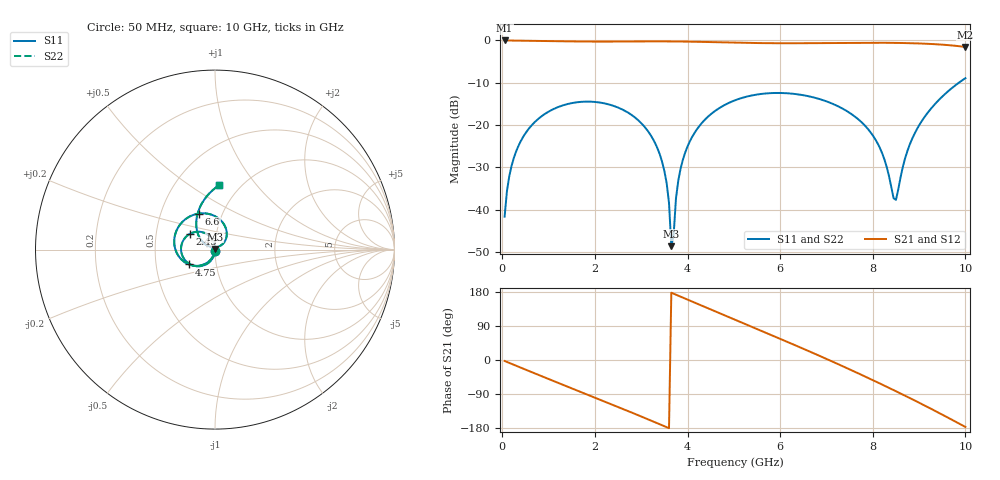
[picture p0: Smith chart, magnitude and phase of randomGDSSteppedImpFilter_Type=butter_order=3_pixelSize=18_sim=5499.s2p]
! freq	dB(S11)	phase(S11)	dB(S12)	phase(S12)
!  dB(S21)	phase(S21)	dB(S22)	phase(S22)
!S-par simulation data
#  GHz  S  DB  R 50
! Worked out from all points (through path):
!   200 points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, 50 MHz to 10 GHz, reference 50 ohm
!   highest |S21| = 0.00 dB at 50 MHz (marker M1); lowest = -1.5 dB at 10 GHz (marker M2)
!   group delay of S21, straight-line fit = 147 ps
!   lowest |S11| = -48.6 dB at 3.65 GHz (marker M3), VSWR 1.01, Z = 49.9 + j0.345 ohm
!   |S11| at or under -10 dB: start of sweep to 9.858 GHz
!   |S22| runs from -48.6 to -8.9 dB; largest |S21 - S12| = 0
!   S11 on the Smith chart (normalised r, x): 50 MHz: 1.00, -0.02; 2.45 GHz: 0.74, +0.13; 4.75 GHz: 0.74, -0.13; 6.6 GHz: 0.78, +0.33; 10 GHz: 0.80, +0.66
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0.05  -41.65 -92.1  -0.00 -2.6  -0.00 -2.6  -41.64 -92.1
0.2  -29.65 -100.2  -0.02 -10.2  -0.02 -10.2  -29.65 -100.2
0.5  -21.94 -115.5  -0.06 -25.3  -0.06 -25.3  -21.94 -115.5
1.75  -14.48 -177.7  -0.26 -87.0  -0.26 -87.0  -14.48 -177.7
2.45  -15.64 147.9  -0.27 -121.4  -0.27 -121.4  -15.64 148.0
3.4  -26.90 100.5  -0.22 -169.6  -0.22 -169.6  -26.90 100.6
3.55  -33.80 93.8  -0.23 -177.3  -0.23 -177.3  -33.80 93.9
3.6  -38.41 92.6  -0.23 -179.9  -0.23 -179.9  -38.41 92.8
3.65  -48.62 111.1  -0.24 177.5  -0.24 177.5  -48.62 111.5
3.8  -33.14 -102.7  -0.25 169.7  -0.25 169.7  -33.13 -102.7
3.95  -26.47 -109.5  -0.27 161.9  -0.27 161.9  -26.47 -109.5
4.75  -15.56 -150.3  -0.45 120.3  -0.45 120.3  -15.56 -150.3
5.05  -14.04 -165.7  -0.53 104.8  -0.53 104.8  -14.04 -165.6
5.8  -12.45 155.9  -0.65 66.2  -0.65 66.2  -12.45 155.9
6.6  -13.15 114.0  -0.65 24.4  -0.65 24.4  -13.15 114.1
6.7  -13.40 108.7  -0.64 19.1  -0.64 19.1  -13.40 108.8
7.8  -19.78 50.4  -0.54 -41.6  -0.54 -41.6  -19.78 50.6
8.35  -32.04 41.1  -0.56 -73.5  -0.56 -73.5  -32.04 41.1
8.5  -37.68 106.0  -0.58 -82.4  -0.58 -82.4  -37.71 106.2
8.7  -27.79 152.0  -0.62 -94.4  -0.62 -94.4  -27.79 152.2
9  -20.08 144.2  -0.71 -112.7  -0.71 -112.7  -20.08 144.4
10  -8.92 86.5  -1.53 -176.7  -1.53 -176.7  -8.92 86.7
